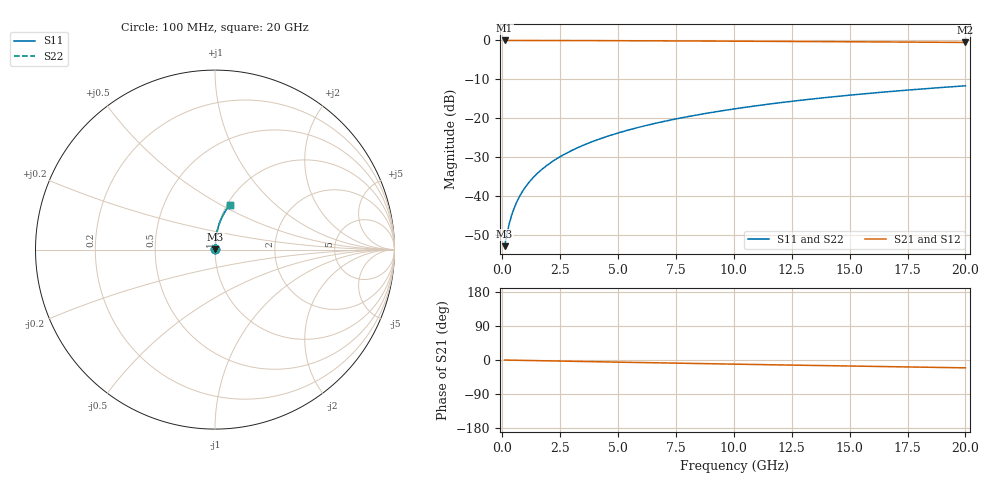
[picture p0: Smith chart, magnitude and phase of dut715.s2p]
! Touchstone file exported from HFSS 2024.1.0
!  File:  C:/UserFiles/LocalFiles/RDL_TSV_Batchsim/temp_RDL_top_715_1779850336.aedt
!  Generated:  10:54:56 AM May 27, 2026
!  Design:  RDL_top
!  Project:  temp_RDL_top_715_1779850336
!  Setup:  Setup1
!  Solution:  Sweep
! Variables:
!  dtsv = 10.80580581um
!  hbump = 3um
!  htsv = 87.39um
!  ldown = 100um
!  lrdl = 218.28um
!  p = 40
!  p1 = 55.04um
!  rhole = 1um
!  t = 450um
!  tdown = 3.915915916um
!  trdl = 2.96um
!  wdown = 15.38538539um
!  wrdl = 16.05um
# GHz S MA R 50.000000
! Terminal data exported
! Port[1] = Box2_T1
! Port[2] = Box2_T2
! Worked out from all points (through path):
!   200 points, 100 MHz to 20 GHz, reference 50 ohm
!   highest |S21| = -0.02 dB at 100 MHz (marker M1); lowest = -0.5 dB at 20 GHz (marker M2)
!   group delay of S21, straight-line fit = 2.87 ps
!   lowest |S11| = -52.8 dB at 100 MHz (marker M3), VSWR 1.00, Z = 50.2 + j0.134 ohm
!   |S11| at or under -10 dB: start of sweep to end of sweep
!   |S22| runs from -52.8 to -11.7 dB; largest |S21 - S12| = 5.2e-15
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0.1  0.002279 35.9  0.9982 -0.1  0.9982 -0.1  0.002279 35.9
! Gamma 0 0 0 0
! Port Impedance 50 0 50 0
0.2  0.00326 54.9  0.9981 -0.2  0.9981 -0.2  0.00326 54.9
0.3  0.00442 64.2  0.9981 -0.4  0.9981 -0.4  0.00442 64.2
0.4  0.005636 69.5  0.998 -0.5  0.998 -0.5  0.005636 69.5
0.5  0.006872 72.9  0.9979 -0.6  0.9979 -0.6  0.006872 72.9
0.6  0.008114 75.2  0.9979 -0.7  0.9979 -0.7  0.008114 75.2
0.8  0.01061 78.2  0.9977 -0.9  0.9977 -0.9  0.01061 78.2
1.1  0.01437 80.8  0.9975 -1.3  0.9975 -1.3  0.01437 80.8
1.5  0.01941 82.8  0.9972 -1.7  0.9972 -1.7  0.01941 82.8
1.8  0.02322 83.6  0.9969 -2.1  0.9969 -2.1  0.02322 83.6
2.1  0.02704 84.2  0.9966 -2.4  0.9966 -2.4  0.02704 84.2
2.7  0.03473 84.9  0.9958 -3.1  0.9958 -3.1  0.03473 84.9
3.5  0.04507 85.2  0.9946 -4.0  0.9946 -4.0  0.04507 85.2
4.2  0.0542 85.2  0.9932 -4.8  0.9932 -4.8  0.0542 85.2
5  0.06473 85.0  0.9915 -5.7  0.9915 -5.7  0.06473 85.0
5.9  0.07666 84.6  0.9894 -6.6  0.9894 -6.6  0.07666 84.6
6.8  0.08868 84.1  0.9871 -7.6  0.9871 -7.6  0.08868 84.1
8.3  0.1088 83.0  0.9828 -9.2  0.9828 -9.2  0.1088 83.0
10.1  0.1331 81.4  0.9773 -11.0  0.9773 -11.0  0.1331 81.5
13.4  0.1771 78.3  0.9663 -14.4  0.9663 -14.4  0.1771 78.3
16.7  0.2199 75.1  0.9544 -17.6  0.9544 -17.6  0.2199 75.1
20  0.2611 71.8  0.9415 -20.7  0.9415 -20.7  0.2612 71.8
